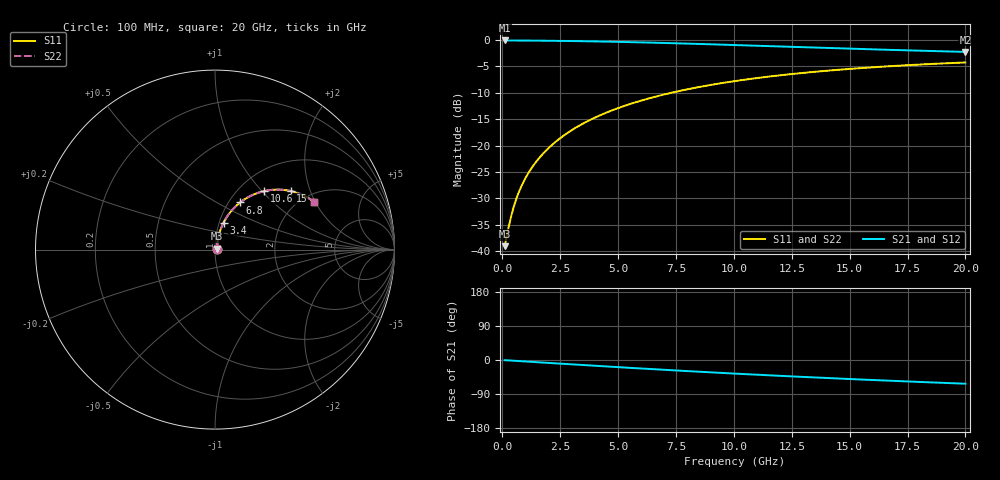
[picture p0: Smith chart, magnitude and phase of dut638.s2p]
! Touchstone file exported from HFSS 2026.1.0
!  File:  C:/ffzhzh/LocalFiles/Ansys_Project_Files/temp_train_BSMRDL_638_1783016707_53980.aedt
!  Generated:  02:26:40 AM Jul  3, 2026
!  Design:  BSMRDL
!  Project:  temp_train_BSMRDL_638_1783016707_53980
! Variables:
!  h_bsmrdl = 3.01um
!  h_ox = 20um
!  h_rdl = 5um
!  h_sub = 80um
!  h_tmrdl = 5um
!  h_tsv = 80um
!  h_via = 3um
!  l_bsmrdl = 946.77um
!  l_sub = 1346.77um
!  l_tmrdl = 200um
!  m_sub = 200um
!  pitch = 40.72um
!  r_tsv = 6um
!  s_tmrdl = 10um
!  w_bsmrdl = 10.96um
!  w_sub = 500um
!  w_tmrdl = 12um
!  x_tsv_center1 = 206um
!  x_tsv_center2 = 1163.73um
!  x_tsv_center3 = 1375.73um
!  x_tsv_center4 = 2333.46um
!  x_tsv_center5 = 2545.46um
!  x_tsv_center6 = 3503.19um
# GHz S MA R 50.000000
! Terminal data exported
! Port[1] = BSM_RDL1_1_T1
! Port[2] = BSM_RDL1_1_T2
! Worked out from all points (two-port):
!   200 points, 100 MHz to 20 GHz, reference 50 ohm
!   highest |S21| = -0.09 dB at 100 MHz (marker M1); lowest = -2.3 dB at 20 GHz (marker M2)
!   |S21| within 3 dB of the highest: start of sweep to end of sweep
!   lowest |S11| = -39.0 dB at 100 MHz (marker M3), VSWR 1.02, Z = 51 + j0.498 ohm
!   |S11| at or under -10 dB: start of sweep to 7.295 GHz
!   |S22| runs from -39.0 to -4.3 dB; largest |S21 - S12| = 6.3e-15
!   S11 on the Smith chart (normalised r, x): 100 MHz: 1.02, +0.01; 3.4 GHz: 1.05, +0.32; 6.8 GHz: 1.13, +0.65; 10.6 GHz: 1.29, +1.03; 15 GHz: 1.62, +1.48; 20 GHz: 2.30, +1.96
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0.1  0.01117 25.9  0.99 -0.4  0.99 -0.4  0.01117 25.9
! Gamma 0 0 0 0
! Port Impedance 50 0 50 0
0.3  0.01796 54.1  0.9897 -1.2  0.9897 -1.2  0.01796 54.1
0.4  0.02218 60.5  0.9894 -1.6  0.9894 -1.6  0.02218 60.5
0.6  0.03105 67.5  0.9889 -2.4  0.9889 -2.4  0.03105 67.5
0.7  0.03556 69.5  0.9886 -2.8  0.9886 -2.8  0.03556 69.5
0.9  0.04465 72.1  0.988 -3.5  0.988 -3.5  0.04465 72.1
1.2  0.05833 74.1  0.987 -4.7  0.987 -4.7  0.05833 74.1
1.6  0.07662 75.0  0.9855 -6.2  0.9855 -6.2  0.07662 75.0
2.1  0.09944 75.0  0.9832 -8.1  0.9832 -8.1  0.09943 75.0
2.7  0.1266 74.1  0.9797 -10.4  0.9797 -10.4  0.1266 74.1
3.4  0.1578 72.4  0.9749 -13.0  0.9749 -13.0  0.1578 72.4
3.5  0.1622 72.1  0.9741 -13.4  0.9741 -13.4  0.1622 72.1
4.2  0.1927 70.1  0.9682 -16.0  0.9682 -16.0  0.1927 70.1
5  0.2265 67.7  0.9604 -18.9  0.9604 -18.9  0.2265 67.7
6.8  0.2978 61.9  0.9398 -25.2  0.9398 -25.2  0.2978 61.9
8.3  0.3519 57.1  0.9202 -30.3  0.9202 -30.3  0.3519 57.1
10.1  0.41 51.5  0.8953 -36.1  0.8953 -36.1  0.41 51.6
10.6  0.4248 50.0  0.8882 -37.6  0.8882 -37.6  0.4248 50.1
13.4  0.4978 42.1  0.8491 -45.8  0.8491 -45.8  0.4978 42.1
15  0.5324 37.8  0.8279 -50.2  0.8279 -50.2  0.5324 37.9
16.7  0.5641 33.5  0.8069 -54.6  0.8069 -54.6  0.5641 33.6
20  0.6127 25.7  0.7716 -62.6  0.7716 -62.6  0.6127 25.8
